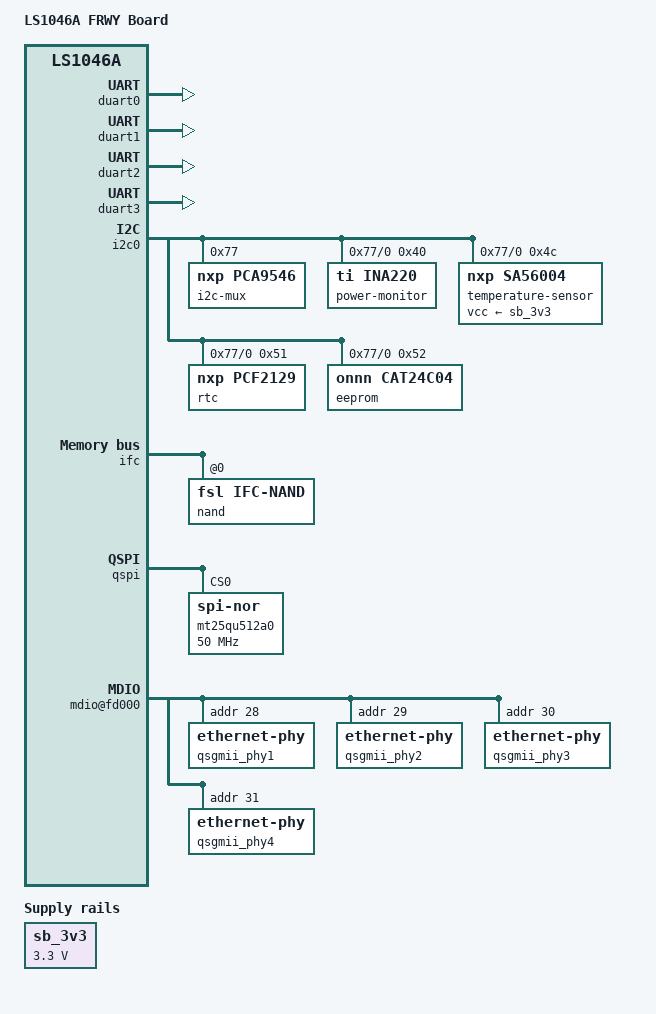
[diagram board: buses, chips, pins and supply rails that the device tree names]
// SPDX-License-Identifier: (GPL-2.0+ OR MIT)
/*
 * Device Tree Include file for Freescale Layerscape-1046A family SoC.
 *
 * Copyright 2019 NXP.
 *
 */

/dts-v1/;

#include "fsl-ls1046a.dtsi"

/ {
	model = "LS1046A FRWY Board";
	compatible = "fsl,ls1046a-frwy", "fsl,ls1046a";

	aliases {
		serial0 = &duart0;
		serial1 = &duart1;
		serial2 = &duart2;
		serial3 = &duart3;
	};

	chosen {
		stdout-path = "serial0:115200n8";
	};

	sb_3v3: regulator-sb3v3 {
		compatible = "regulator-fixed";
		regulator-name = "LT8642SEV-3.3V";
		regulator-min-microvolt = <3300000>;
		regulator-max-microvolt = <3300000>;
		regulator-boot-on;
		regulator-always-on;
	};
};

&duart0 {
	status = "okay";
};

&duart1 {
	status = "okay";
};

&duart2 {
	status = "okay";
};

&duart3 {
	status = "okay";
};

&i2c0 {
	status = "okay";

	i2c-mux@77 {
		compatible = "nxp,pca9546";
		reg = <0x77>;
		#address-cells = <1>;
		#size-cells = <0>;

		i2c@0 {
			#address-cells = <1>;
			#size-cells = <0>;
			reg = <0>;

			power-monitor@40 {
				compatible = "ti,ina220";
				reg = <0x40>;
				shunt-resistor = <1000>;
			};

			temperature-sensor@4c {
				compatible = "nxp,sa56004";
				reg = <0x4c>;
				vcc-supply = <&sb_3v3>;
			};

			rtc@51 {
				compatible = "nxp,pcf2129";
				reg = <0x51>;
			};

			eeprom@52 {
				compatible = "onnn,cat24c04", "atmel,24c04";
				reg = <0x52>;
			};
		};
	};
};

&ifc {
	#address-cells = <2>;
	#size-cells = <1>;
	/* NAND Flash */
	ranges = <0x0 0x0 0x0 0x7e800000 0x00010000>;
	status = "okay";

	nand@0,0 {
		compatible = "fsl,ifc-nand";
		#address-cells = <1>;
		#size-cells = <1>;
		reg = <0x0 0x0 0x10000>;
	};

};

&qspi {
	status = "okay";

	mt25qu512a0: flash@0 {
		compatible = "jedec,spi-nor";
		#address-cells = <1>;
		#size-cells = <1>;
		spi-max-frequency = <50000000>;
		spi-rx-bus-width = <4>;
		spi-tx-bus-width = <1>;
		reg = <0>;
	};
};

#include "fsl-ls1046-post.dtsi"

&fman0 {
	ethernet@e0000 {
		phy-handle = <&qsgmii_phy4>;
		phy-connection-type = "qsgmii";
	};

	ethernet@e8000 {
		phy-handle = <&qsgmii_phy2>;
		phy-connection-type = "qsgmii";
	};

	ethernet@ea000 {
		phy-handle = <&qsgmii_phy1>;
		phy-connection-type = "qsgmii";
	};

	ethernet@f2000 {
		phy-handle = <&qsgmii_phy3>;
		phy-connection-type = "qsgmii";
	};

	mdio@fd000 {
		qsgmii_phy1: ethernet-phy@1c {
			reg = <0x1c>;
		};

		qsgmii_phy2: ethernet-phy@1d {
			reg = <0x1d>;
		};

		qsgmii_phy3: ethernet-phy@1e {
			reg = <0x1e>;
		};

		qsgmii_phy4: ethernet-phy@1f {
			reg = <0x1f>;
		};
	};
};
